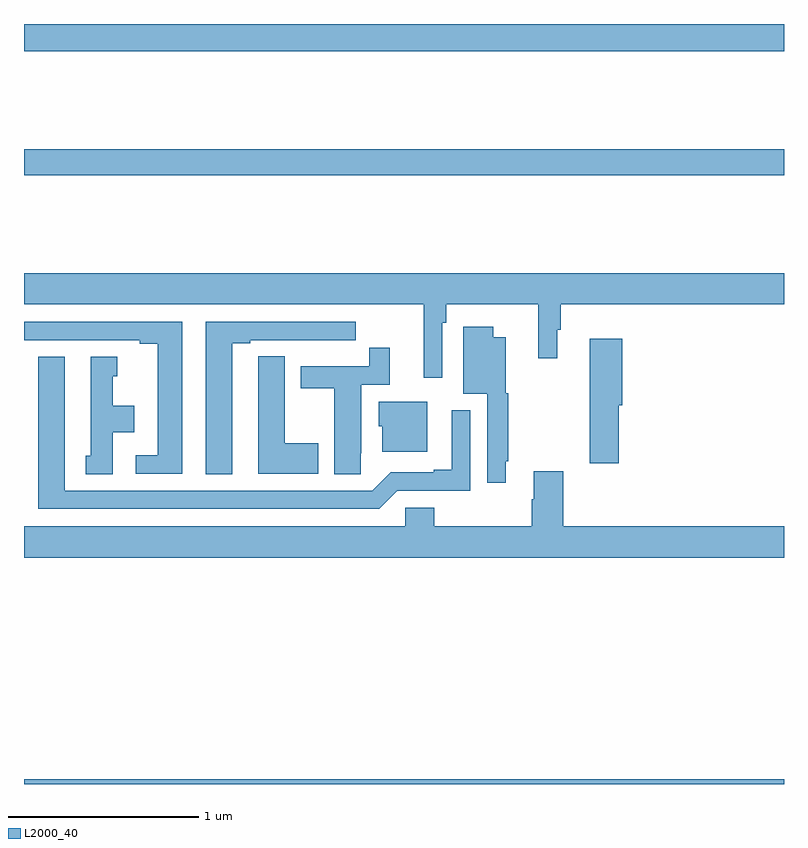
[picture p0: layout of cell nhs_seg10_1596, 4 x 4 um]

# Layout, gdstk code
import gdstk
lib = gdstk.Library(unit=1e-6, precision=1e-09)
def R(c, l, rs):  # rectangles x0, y0, x1, y1
    for r in rs: c.add(gdstk.rectangle(r[:2], r[2:], *l))
def P(c, l, *ps):  # polygons
    for p in ps: c.add(gdstk.Polygon(p, *l))
L2000_40 = (2000, 40)

nhs_seg10_1596 = lib.new_cell('nhs_seg10_1596')
R(nhs_seg10_1596, L2000_40, [(195,1256.5,199,1256.524), (195,1259.704,199,1259.84), (195,1260.356,199,1260.5)])
P(nhs_seg10_1596, L2000_40, [(197.202,1258.928),(197.222,1258.928),(197.222,1259.024),(197.707,1259.024),(197.707,1258.74),(197.806,1258.74),(197.806,1258.89),(197.825,1258.89),(197.825,1259.024),(199,1259.024),(199,1259.188),(195,1259.188),(195,1259.024),(197.105,1259.024),(197.105,1258.638),(197.202,1258.638)],
  [(196.096,1258.821),(196.192,1258.821),(196.192,1258.836),(196.468,1258.836),(196.468,1258.835),(196.634,1258.835),(196.634,1258.836),(196.747,1258.836),(196.747,1258.932),(195.956,1258.932),(195.956,1258.129),(196.096,1258.129)],
  [(195.832,1258.932),(195,1258.932),(195,1258.836),(195.608,1258.836),(195.608,1258.816),(195.704,1258.816),(195.704,1258.23),(195.588,1258.23),(195.588,1258.134),(195.832,1258.134)],
  [(197.536,1258.198),(197.548,1258.198),(197.548,1258.557),(197.536,1258.557),(197.536,1258.852),(197.47,1258.852),(197.47,1258.906),(197.312,1258.906),(197.312,1258.553),(197.439,1258.553),(197.439,1258.086),(197.536,1258.086)],
  [(198.131,1258.494),(198.149,1258.494),(198.149,1258.843),(197.978,1258.843),(197.978,1258.494),(197.977,1258.494),(197.977,1258.188),(198.131,1258.188)],
  [(196.773,1258.24),(196.774,1258.24),(196.774,1258.602),(196.925,1258.602),(196.925,1258.795),(196.816,1258.795),(196.816,1258.698),(196.457,1258.698),(196.457,1258.582),(196.634,1258.582),(196.634,1258.129),(196.773,1258.129)],
  [(196.549,1258.293),(196.372,1258.293),(196.372,1258.751),(196.233,1258.751),(196.233,1258.643),(196.232,1258.643),(196.232,1258.133),(196.549,1258.133)],
  [(195.466,1258.352),(195.58,1258.352),(195.58,1258.492),(195.466,1258.492),(195.466,1258.647),(195.49,1258.647),(195.49,1258.75),(195.35,1258.75),(195.35,1258.227),(195.326,1258.227),(195.326,1258.129),(195.466,1258.129)],
  [(196.965,1258.044),(197.349,1258.044),(197.349,1258.468),(197.252,1258.468),(197.252,1258.153),(197.156,1258.153),(197.156,1258.14),(196.929,1258.14),(196.833,1258.044),(195.214,1258.044),(195.214,1258.75),(195.074,1258.75),(195.074,1257.948),(196.869,1257.948)],
  [(197.122,1258.513),(196.868,1258.513),(196.868,1258.383),(196.886,1258.383),(196.886,1258.25),(197.122,1258.25)],
  [(199,1257.856),(197.837,1257.856),(197.837,1258.147),(197.684,1258.147),(197.684,1257.998),(197.672,1257.998),(197.672,1257.856),(197.159,1257.856),(197.159,1257.954),(197.007,1257.954),(197.007,1257.856),(195,1257.856),(195,1257.692),(199,1257.692)])

lib.write_gds('nhs_seg10_1596.gds')
